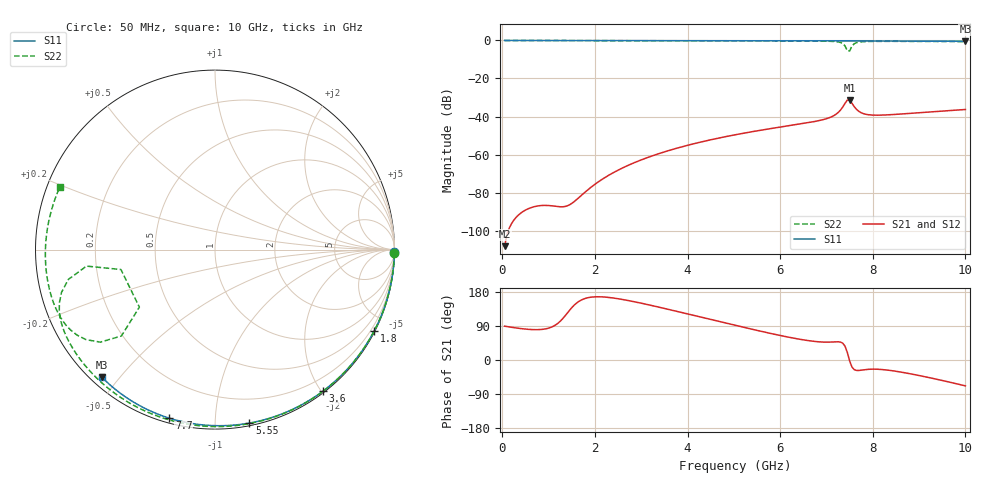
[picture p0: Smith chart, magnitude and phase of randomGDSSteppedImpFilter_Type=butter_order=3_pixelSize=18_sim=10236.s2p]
! freq	dB(S11)	phase(S11)	dB(S12)	phase(S12)
!  dB(S21)	phase(S21)	dB(S22)	phase(S22)
!S-par simulation data
#  GHz  S  DB  R 50
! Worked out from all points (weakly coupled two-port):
!   200 points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, 50 MHz to 10 GHz, reference 50 ohm
!   highest |S21| = -31.35 dB at 7.5 GHz (marker M1); lowest = -108.2 dB at 50 MHz (marker M2)
!   lowest |S11| = -0.4 dB at 10 GHz (marker M3), VSWR 39.12, Z = 1.54 - j22.5 ohm
!   |S11| at or under -10 dB: nowhere
!   |S22| runs from -5.5 to 0.0 dB; largest |S21 - S12| = 0
!   S11 on the Smith chart (normalised r, x): 50 MHz: open; 1.8 GHz: 0.04, -4.17; 3.6 GHz: 0.02, -2.02; 5.55 GHz: 0.02, -1.22; 7.7 GHz: 0.02, -0.77; 10 GHz: 0.03, -0.45
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0.05  -0.00 -0.8  -108.19 89.3  -108.19 89.3  -0.00 -1.2
0.85  -0.02 -12.8  -86.80 80.7  -86.80 80.7  -0.03 -20.4
1.75  -0.03 -26.2  -80.57 160.7  -80.57 160.7  -0.05 -41.4
1.8  -0.03 -27.0  -79.51 162.8  -79.51 162.8  -0.05 -42.5
2.15  -0.04 -32.1  -73.12 166.6  -73.12 166.6  -0.06 -50.5
2.5  -0.05 -37.2  -68.21 161.7  -68.21 161.7  -0.07 -58.3
3.4  -0.07 -49.9  -59.37 139.0  -59.37 139.0  -0.10 -77.6
3.6  -0.07 -52.7  -57.86 133.2  -57.86 133.2  -0.11 -81.8
5.05  -0.11 -72.3  -49.50 90.9  -49.50 90.9  -0.17 -111.0
5.55  -0.13 -78.8  -47.33 76.7  -47.33 76.7  -0.19 -120.7
6.7  -0.18 -93.1  -42.83 49.6  -42.83 49.6  -0.30 -143.8
7.1  -0.20 -98.0  -40.25 47.3  -40.25 47.3  -0.46 -154.5
7.3  -0.22 -100.4  -36.71 47.4  -36.71 47.4  -1.03 -164.4
7.4  -0.22 -101.6  -33.09 36.7  -33.09 36.7  -2.83 -172.7
7.45  -0.22 -102.2  -31.37 20.1  -31.37 20.1  -5.42 -168.1
7.5  -0.22 -102.7  -31.35 -2.4  -31.35 -2.4  -5.52 -142.7
7.55  -0.23 -103.4  -32.98 -18.4  -32.98 -18.4  -2.98 -137.3
7.7  -0.24 -105.2  -37.30 -27.6  -37.30 -27.6  -0.88 -148.2
7.9  -0.25 -107.5  -39.04 -24.6  -39.04 -24.6  -0.54 -156.4
8.35  -0.29 -112.8  -39.09 -27.1  -39.09 -27.1  -0.46 -167.7
9.15  -0.36 -121.9  -37.74 -44.7  -37.74 -44.7  -0.51 175.7
10  -0.44 -131.6  -36.31 -68.2  -36.31 -68.2  -0.61 158.1
